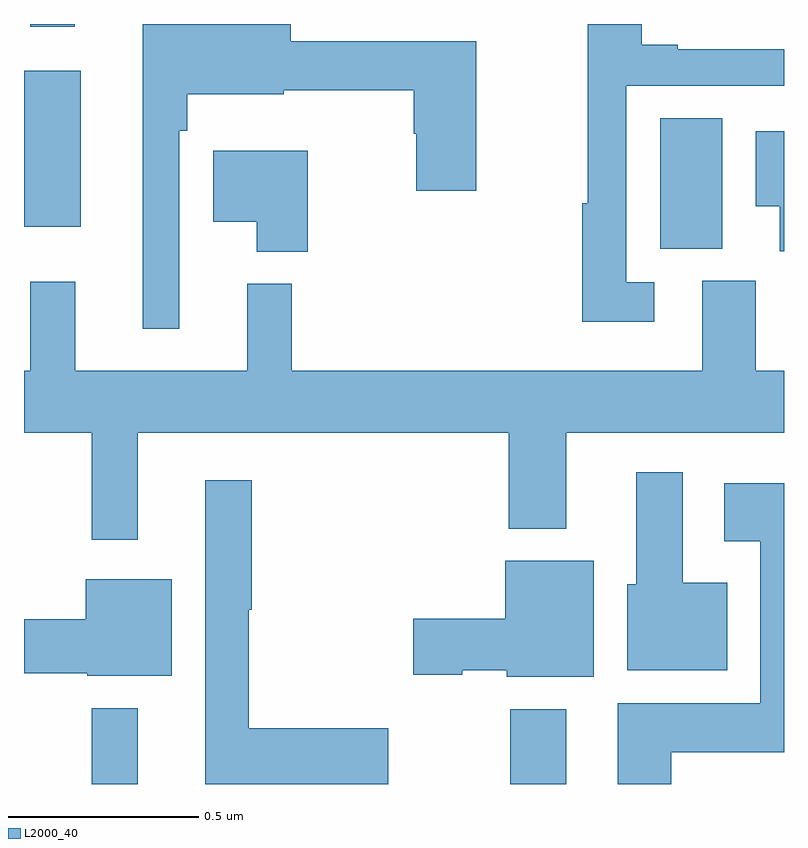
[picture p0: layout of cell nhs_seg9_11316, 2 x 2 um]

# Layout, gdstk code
import gdstk
lib = gdstk.Library(unit=1e-6, precision=1e-09)
def R(c, l, rs):  # rectangles x0, y0, x1, y1
    for r in rs: c.add(gdstk.rectangle(r[:2], r[2:], *l))
def P(c, l, *ps):  # polygons
    for p in ps: c.add(gdstk.Polygon(p, *l))
L2000_40 = (2000, 40)

nhs_seg9_11316 = lib.new_cell('nhs_seg9_11316')
R(nhs_seg9_11316, L2000_40, [(254.178,1191.5,254.299,1191.7), (255.28,1191.5,255.427,1191.697), (255.674,1192.909,255.838,1193.252), (254,1192.967,254.149,1193.377), (254.017,1193.493,254.134,1193.5)])
P(nhs_seg9_11316, L2000_40, [(254.409,1193.219),(254.429,1193.219),(254.429,1193.315),(254.683,1193.315),(254.683,1193.326),(255.025,1193.326),(255.025,1193.211),(255.032,1193.211),(255.032,1193.061),(255.19,1193.061),(255.19,1193.455),(254.702,1193.455),(254.702,1193.5),(254.312,1193.5),(254.312,1192.698),(254.409,1192.698)],
  [(255.658,1192.821),(255.585,1192.821),(255.585,1193.337),(256,1193.337),(256,1193.433),(255.721,1193.433),(255.721,1193.446),(255.625,1193.446),(255.625,1193.5),(255.484,1193.5),(255.484,1193.028),(255.469,1193.028),(255.469,1192.716),(255.658,1192.716)],
  [(256,1193.218),(255.926,1193.218),(255.926,1193.021),(255.989,1193.021),(255.989,1192.902),(256,1192.902)],
  [(254.747,1193.167),(254.498,1193.167),(254.498,1192.979),(254.612,1192.979),(254.612,1192.901),(254.747,1192.901)],
  [(254.299,1192.424),(255.275,1192.424),(255.275,1192.172),(255.427,1192.172),(255.427,1192.424),(256,1192.424),(256,1192.588),(255.925,1192.588),(255.925,1192.824),(255.785,1192.824),(255.785,1192.588),(254.705,1192.588),(254.705,1192.816),(254.588,1192.816),(254.588,1192.588),(254.135,1192.588),(254.135,1192.822),(254.017,1192.822),(254.017,1192.588),(254,1192.588),(254,1192.424),(254.178,1192.424),(254.178,1192.143),(254.299,1192.143)],
  [(255.85,1192.03),(255.733,1192.03),(255.733,1192.321),(255.611,1192.321),(255.611,1192.026),(255.587,1192.026),(255.587,1191.8),(255.85,1191.8)],
  [(254.959,1191.647),(254.591,1191.647),(254.591,1191.959),(254.599,1191.959),(254.599,1192.3),(254.477,1192.3),(254.477,1191.5),(254.959,1191.5)],
  [(255.703,1191.584),(256,1191.584),(256,1192.291),(255.843,1192.291),(255.843,1192.139),(255.938,1192.139),(255.938,1191.712),(255.563,1191.712),(255.563,1191.5),(255.703,1191.5)],
  [(255.499,1192.087),(255.266,1192.087),(255.266,1191.935),(255.024,1191.935),(255.024,1191.788),(255.153,1191.788),(255.153,1191.8),(255.27,1191.8),(255.27,1191.782),(255.499,1191.782)],
  [(254.389,1192.039),(254.162,1192.039),(254.162,1191.933),(254,1191.933),(254,1191.791),(254.166,1191.791),(254.166,1191.785),(254.389,1191.785)])

lib.write_gds('nhs_seg9_11316.gds')
